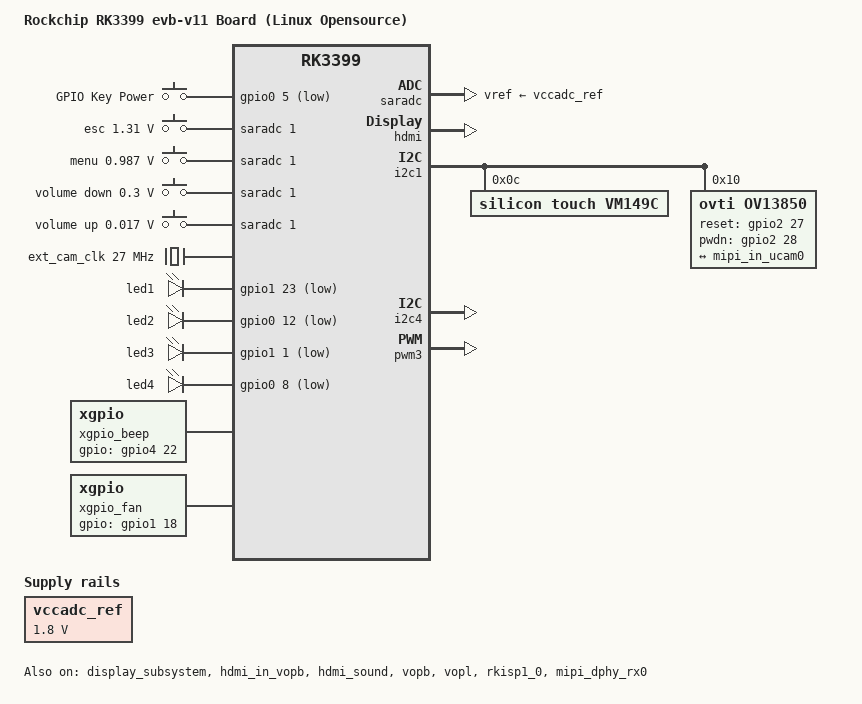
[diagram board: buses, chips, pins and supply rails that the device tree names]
/dts-v1/;

#include "rk3399-evb-v11.dtsi"
#include "rk3399-linux.dtsi"
#include <dt-bindings/input/input.h>

//#include "lcd-mipi1024x600-WY070ML.dtsi" //7 inch mipi 1024x600
//#include "lcd-edp2560x1600-LTL101DL03.dtsi" //10.1 inch edp 2560x1600
//#include "lcd_mipi_N070ICE.dtsi"
#include "lcd_mipi_ILI9881C.dtsi"

/ {
	model = "Rockchip RK3399 evb-v11 Board (Linux Opensource)";
	compatible = "rockchip,rk3399-evb-v11-linux", "rockchip,rk3399";

	board {
		compatible = "friendlyelec,board";
		machine = "NANOPI4";
        hwrev = <1>;
        model = "NanoPi M4";
	};

	fiq_debugger: fiq-debugger {
		compatible = "rockchip,fiq-debugger";
		rockchip,serial-id = <2>;
		rockchip,signal-irq = <182>;
		rockchip,wake-irq = <0>;
		rockchip,irq-mode-enable = <1>;  /* If enable uart uses irq instead of fiq */
		rockchip,baudrate = <115200>;  /* Only 115200 and 1500000 */
		pinctrl-names = "default";
		pinctrl-0 = <&uart2c_xfer>;
	};

/*
	vcc_lcd: vcc-lcd {
		compatible = "regulator-fixed";
		regulator-name = "vcc_lcd";
		gpio = <&gpio4 30 GPIO_ACTIVE_HIGH>;
		startup-delay-us = <20000>;
		enable-active-high;
		regulator-min-microvolt = <3300000>;
		regulator-max-microvolt = <3300000>;
		regulator-boot-on;
		vin-supply = <&vcc5v0_sys>;
	};*/

	/*vcc_lcd: vcc-lcd {
		compatible = "regulator-fixed";
		regulator-name = "vcc_lcd";
		gpio = <&gpio1 13 GPIO_ACTIVE_HIGH>;
		startup-delay-us = <20000>;
		enable-active-high;
		regulator-min-microvolt = <3300000>;
		regulator-max-microvolt = <3300000>;
		regulator-boot-on;
		vin-supply = <&vcc5v0_sys>;
	};*/

	gpio_keys: gpio-keys {
		compatible = "gpio-keys";
		#address-cells = <1>;
		#size-cells = <0>;
		autorepeat;

		pinctrl-names = "default";
		pinctrl-0 = <&pwrbtn>;

		button@0 {
			gpios = <&gpio0 5 GPIO_ACTIVE_LOW>;
			linux,code = <KEY_POWER>;
			label = "GPIO Key Power";
			linux,input-type = <1>;
			gpio-key,wakeup = <1>;
			debounce-interval = <100>;
		};
	};

	adc_keys: adc-keys {
		compatible = "adc-keys";
		io-channels = <&saradc 1>;
		io-channel-names = "buttons";
		poll-interval = <100>;
		keyup-threshold-microvolt = <1800000>;

		esc-key {
			linux,code = <KEY_ESC>;
			label = "esc";
			press-threshold-microvolt = <1310000>;
		};

		menu-key {
			linux,code = <KEY_MENU>;
			label = "menu";
			press-threshold-microvolt = <987000>;
		};

		vol-down-key {
			linux,code = <KEY_VOLUMEDOWN>;
			label = "volume down";
			press-threshold-microvolt = <300000>;
		};

		vol-up-key {
			linux,code = <KEY_VOLUMEUP>;
			label = "volume up";
			press-threshold-microvolt = <17000>;
		};
	};

	vccadc_ref: vccadc-ref {
		compatible = "regulator-fixed";
		regulator-name = "vcc1v8_sys";
		regulator-always-on;
		regulator-boot-on;
		regulator-min-microvolt = <1800000>;
		regulator-max-microvolt = <1800000>;
	};

	ext_cam_clk: external-camera-clock {
		compatible = "fixed-clock";
		clock-frequency = <27000000>;
		clock-output-names = "CLK_CAMERA_27MHZ";
		#clock-cells = <0>;
	};

	leds {
		compatible = "gpio-leds";

		led@1 {
			pinctrl-names = "default";
			pinctrl-0 = <&led1_ctl>;
			label = "led1";
			gpios = <&gpio1 23 GPIO_ACTIVE_LOW>;
			linux,default-trigger = "heartbeat";
			default-state = "off";
		};

		led@2 {
			pinctrl-names = "default";
			pinctrl-0 = <&led2_ctl>;
			label = "led2";
			gpios = <&gpio0 12 GPIO_ACTIVE_LOW>;
			default-state = "off";
		};

		led@3 {
			pinctrl-names = "default";
			pinctrl-0 = <&led3_ctl>;
			label = "led3";
			gpios = <&gpio1 1 GPIO_ACTIVE_LOW>;
			default-state = "off";
		};

		led@4 {
			pinctrl-names = "default";
			pinctrl-0 = <&led4_ctl>;
			label = "led4";
			gpios = <&gpio0 8 GPIO_ACTIVE_LOW>;
			default-state = "off";
		};
	};

	xgpio_beep {
		compatible = "xgpio";
		pinctrl-names = "default";
		pinctrl-0 = <&beep_gpio>;
		gpio = <&gpio4 22 GPIO_ACTIVE_HIGH>;
		status = "okay";
	};

	xgpio_fan {
		compatible = "xgpio";
		pinctrl-names = "default";
		pinctrl-0 = <&fan_gpio>;
		gpio = <&gpio1 18 GPIO_ACTIVE_HIGH>;
		status = "okay";
	};

	test_power: test-power {
		status = "okay";
	};
};

&saradc {
	vref-supply = <&vccadc_ref>;
};

&display_subsystem {
	status = "okay";
};

&hdmi {
	pinctrl-names = "default";
	pinctrl-0 = <&hdmi_i2c_xfer>, <&hdmi_cec>;
	#address-cells = <1>;
	#size-cells = <0>;
	#sound-dai-cells = <0>;
	status = "okay";
};

&hdmi_in_vopl {
	//status = "okay";
	status = "disabled";
};

&hdmi_in_vopb {
	//status = "disabled";
	status = "okay";
};

&route_hdmi {
	status = "disabled";
};

&hdmi_sound {
	status = "okay";
};

&i2c1 {
	status = "okay";

	gsl3673: gsl3673@40 {
		status = "disabled";
		compatible = "GSL,GSL3673";
		reg = <0x40>;
		screen_max_x = <1536>;
		screen_max_y = <2048>;
		irq_gpio_number = <&gpio1 20 IRQ_TYPE_LEVEL_LOW>;
		rst_gpio_number = <&gpio4 22 GPIO_ACTIVE_HIGH>;
	};

	tc358749x: tc358749x@f {
		status = "disabled";
		compatible = "toshiba,tc358749";
		reg = <0xf>;
		clocks = <&ext_cam_clk>;
		clock-names = "refclk";
		reset-gpios = <&gpio2 7 GPIO_ACTIVE_LOW>;
		/* hardware irq-pin is dangling
		 * connect it to other gpio then configurate follow interrupt
		 * or del config just using software poll
		 */
		//interrupt-parent = <&gpio2>;
		//interrupts = <12 IRQ_TYPE_LEVEL_LOW>;
		pinctrl-names = "default";
		pinctrl-0 = <&hdmiin_gpios>;
		rockchip,camera-module-index = <0>;
		rockchip,camera-module-facing = "back";
		rockchip,camera-module-name = "default";
		rockchip,camera-module-lens-name = "default";
		port {
			hdmiin_out0: endpoint {
				/* Unlinked mipi dphy rx0 */
				//remote-endpoint = <&mipi_in_ucam0>;
				data-lanes = <1 2 3 4>;
				clock-noncontinuous;
				link-frequencies =
					/bits/ 64 <297000000>;
			};
		};
	};

	vm149c: vm149c@0c {
		status = "okay";
		compatible = "silicon touch,vm149c";
		reg = <0x0c>;
		rockchip,camera-module-index = <0>;
		rockchip,camera-module-facing = "back";
	};

	ov13850: ov13850@10 {
		status = "okay";
		compatible = "ovti,ov13850";
		reg = <0x10>;
		clocks = <&cru SCLK_CIF_OUT>;
		clock-names = "xvclk";

		/* conflict with csi-ctl-gpios */
		reset-gpios = <&gpio2 27 GPIO_ACTIVE_HIGH>;
		pwdn-gpios = <&gpio2 28 GPIO_ACTIVE_HIGH>;
		pinctrl-names = "rockchip,camera_default";
		pinctrl-0 = <&cif_clkout>;
		rockchip,camera-module-index = <0>;
		rockchip,camera-module-facing = "back";
		rockchip,camera-module-name = "CMK-CT0116";
		rockchip,camera-module-lens-name = "Largan-50013A1";

		lens-focus = <&vm149c>;

		port {
			ucam_out0: endpoint {
				remote-endpoint = <&mipi_in_ucam0>;
				data-lanes = <1 2>;
			};
		};
	};
};

&i2c4 {
	status = "okay";
};

&uart2 {
	status = "disabled";
};

&vopb {
	assigned-clocks = <&cru DCLK_VOP0_DIV>;
	//assigned-clock-parents = <&cru PLL_CPLL>;
	assigned-clock-parents = <&cru PLL_VPLL>;
	status = "okay";
};

&vopb_mmu {
	status = "okay";
};

&vopl {
	assigned-clocks = <&cru DCLK_VOP0_DIV>;
	assigned-clock-parents = <&cru PLL_CPLL>;
	//assigned-clock-parents = <&cru PLL_VPLL>;
	status = "okay";
};

&vopl_mmu {
	status = "okay";
};

&pwm3 {
	status = "okay";
	interrupts = <GIC_SPI 61 IRQ_TYPE_LEVEL_HIGH 0>;
	compatible = "rockchip,remotectl-pwm";
	remote_pwm_id = <3>;
	handle_cpu_id = <0>;

	ir_key0 {
		rockchip,usercode = <0xff40>;
		rockchip,key_table =
			<0xb2	KEY_POWER>,
			<0xe5	KEY_HOME>,
			<0xbd	KEY_BACK>,
			<0xba	KEY_MENU>,
			<0xf4	KEY_UP>,
			<0xf1	KEY_DOWN>,
			<0xef	KEY_LEFT>,
			<0xee	KEY_RIGHT>,
			<0xf2	KEY_ENTER>,
			<0xf0	KEY_REPLY>,
			<0xea	KEY_VOLUMEUP>,
			<0xe3	KEY_VOLUMEDOWN>,
			<0xbc	KEY_MUTE>,
			<0xfe	KEY_1>,
			<0xfd	KEY_2>,
			<0xfc	KEY_3>,
			<0xfb	KEY_4>,
			<0xfa	KEY_5>,
			<0xf9	KEY_6>,
			<0xf8	KEY_7>,
			<0xf7	KEY_8>,
			<0xb6	KEY_9>,
			<0xff	KEY_0>,
			<0xed	KEY_BACKSPACE>,

			<0xaf	KEY_POWER>,
			<0x8b	KEY_VOLUMEUP>,
			<0xb9	KEY_VOLUMEDOWN>;
	};
};

&dmc {
	status = "disabled";
};

&rkisp1_0 {
	status = "okay";

	port {
		#address-cells = <1>;
		#size-cells = <0>;

		isp0_mipi_in: endpoint@0 {
			reg = <0>;
			remote-endpoint = <&dphy_rx0_out>;
		};
	};
};

&mipi_dphy_rx0 {
	status = "okay";

	ports {
		#address-cells = <1>;
		#size-cells = <0>;

		port@0 {
			reg = <0>;
			#address-cells = <1>;
			#size-cells = <0>;

			mipi_in_ucam0: endpoint@1 {
				reg = <1>;
				remote-endpoint = <&ucam_out0>;
				data-lanes = <1 2>;
			};
		};

		port@1 {
			reg = <1>;
			#address-cells = <1>;
			#size-cells = <0>;

			dphy_rx0_out: endpoint@0 {
				reg = <0>;
				remote-endpoint = <&isp0_mipi_in>;
			};
		};
	};
};

&isp0_mmu {
	status = "okay";
};

&rkisp1_1 {
	status = "disabled";

	port {
		#address-cells = <1>;
		#size-cells = <0>;

		isp1_mipi_in: endpoint@0 {
			reg = <0>;
			remote-endpoint = <&dphy_tx1rx1_out>;
		};
	};
};

&mipi_dphy_tx1rx1 {
	status = "disabled";

	ports {
		#address-cells = <1>;
		#size-cells = <0>;

		port@0 {
			reg = <0>;
			#address-cells = <1>;
			#size-cells = <0>;

			mipi_in_ucam1: endpoint@1 {
				reg = <1>;
				/* Unlinked camera */
				//remote-endpoint = <&ucam_out1>;
				data-lanes = <1 2>;
			};
		};

		port@1 {
			reg = <1>;
			#address-cells = <1>;
			#size-cells = <0>;

			dphy_tx1rx1_out: endpoint@0 {
				reg = <0>;
				remote-endpoint = <&isp1_mipi_in>;
			};
		};
	};
};

&isp1_mmu {
	status = "disabled";
};

&pinctrl {
	buttons {
		pwrbtn: pwrbtn {
			rockchip,pins = <0 5 RK_FUNC_GPIO &pcfg_pull_up>;
		};
	};

	hdmiin {
		hdmiin_gpios: hdmiin-gpios {
			rockchip,pins =
				<2 5 RK_FUNC_GPIO &pcfg_output_high>,
				<2 6 RK_FUNC_GPIO &pcfg_output_high>,
				<2 7 RK_FUNC_GPIO &pcfg_pull_none>,
				<2 8 RK_FUNC_GPIO &pcfg_output_high>,
				<2 9 RK_FUNC_GPIO &pcfg_output_high>,
				<2 10 RK_FUNC_GPIO &pcfg_output_low>,
				<2 12 RK_FUNC_GPIO &pcfg_pull_none>;
		};
	};

	xgpio_beep {
		beep_gpio: beep-gpio {
			rockchip,pins = <4 22 RK_FUNC_GPIO &pcfg_pull_up>;
		};
	};

	xgpio_fan {
		fan_gpio: fan-gpio {
			rockchip,pins = <1 18 RK_FUNC_GPIO &pcfg_pull_up>;
		};
	};

	leds {
		led1_ctl: led1-ctl {
			rockchip,pins = <1 23 RK_FUNC_GPIO &pcfg_pull_up>;
		};
		led2_ctl: led2-ctl {
			rockchip,pins = <0 12 RK_FUNC_GPIO &pcfg_pull_up>;
		};
		led3_ctl: led3-ctl {
			rockchip,pins = <1 1 RK_FUNC_GPIO &pcfg_pull_up>;
		};
		led4_ctl: led4-ctl {
			rockchip,pins = <0 8 RK_FUNC_GPIO &pcfg_pull_up>;
		};
	};
};


/*
&hdmi {
       status = "okay";
};
&hdmi_in_vopl {
       status = "disabled";
};
&hdmi_in_vopb {
       status = "okay";
};
&route_hdmi {
       status = "okay";
       connect = <&vopb_out_hdmi>;
};
&vopb {
       assigned-clocks = <&cru DCLK_VOP0_DIV>;
       assigned-clock-parents = <&cru PLL_VPLL>;
};
&vopl {
       assigned-clocks = <&cru DCLK_VOP1_DIV>;
       assigned-clock-parents = <&cru PLL_CPLL>;
};

&dsi_in_vopl {
       status = "okay";
};
&dsi_in_vopb {
       status = "disabled";
};
&route_dsi {
       status = "okay";
       connect = <&vopl_out_dsi>;
};
*/
